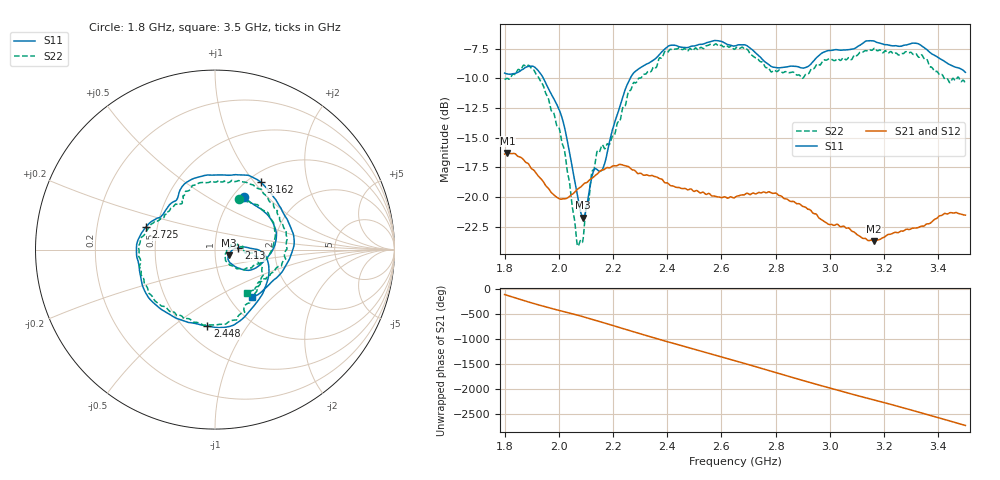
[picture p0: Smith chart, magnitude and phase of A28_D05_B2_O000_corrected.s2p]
! Created with skrf 1.9.0 (http://scikit-rf.org).
# Hz S RI R 50.0
!freq ReS11 ImS11 ReS21 ImS21 ReS12 ImS12 ReS22 ImS22
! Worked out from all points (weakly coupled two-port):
!   1601 points, 1.8 GHz to 3.5 GHz, reference 50 ohm
!   highest |S21| = -16.30 dB at 1.811 GHz (marker M1); lowest = -23.7 dB at 3.162 GHz (marker M2)
!   lowest |S11| = -21.8 dB at 2.09 GHz (marker M3), VSWR 1.18, Z = 58 - j3.64 ohm
!   |S11| at or under -10 dB: 1.943 GHz to 2.263 GHz (320.1 MHz wide, 15.2 % of centre)
!   |S22| runs from -24.2 to -7.1 dB; largest |S21 - S12| = 0.0027
!   S11 on the Smith chart (normalised r, x): 1.8 GHz: 1.13, +0.74; 2.13 GHz: 1.30, +0.02; 2.448 GHz: 0.64, -0.67; 2.725 GHz: 0.43, +0.13; 3.162 GHz: 1.15, +1.08; 3.5 GHz: 1.28, -0.75
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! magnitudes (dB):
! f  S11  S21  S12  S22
! 1.8 GHz  -9.6  -16.4  -16.4  -10.1
! 1.811 GHz  -9.6  -16.3  -16.3  -10.0
! 1.887 GHz  -9.0  -17.2  -17.3  -8.9
! 1.94 GHz  -9.9  -18.6  -18.6  -10.5
! 2.014 GHz  -13.5  -20.2  -20.2  -15.6
! 2.067 GHz  -19.7  -19.4  -19.4  -23.9
! 2.084 GHz  -21.5  -19.1  -19.1  -23.8
! 2.09 GHz  -21.8  -18.9  -19.0  -23.5
! 2.13 GHz  -17.7  -18.3  -18.3  -17.6
! 2.166 GHz  -17.4  -17.7  -17.7  -15.8
! 2.202 GHz  -14.1  -17.4  -17.4  -14.8
! 2.265 GHz  -9.9  -17.6  -17.6  -11.0
! 2.367 GHz  -8.1  -18.4  -18.4  -8.5
! 2.448 GHz  -7.4  -19.3  -19.3  -7.5
! 2.65 GHz  -7.3  -20.0  -20.0  -7.5
! 2.725 GHz  -7.8  -19.7  -19.7  -8.3
! 2.796 GHz  -9.1  -19.7  -19.7  -9.3
! 2.934 GHz  -8.7  -21.3  -21.2  -9.2
! 3.162 GHz  -6.8  -23.7  -23.7  -7.5
! 3.217 GHz  -7.2  -23.2  -23.1  -7.9
! 3.325 GHz  -7.1  -22.6  -22.6  -8.2
! 3.5 GHz  -9.5  -21.5  -21.5  -10.5
